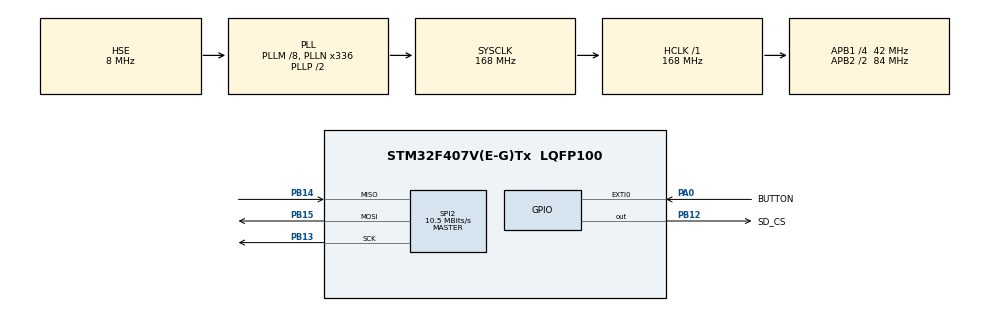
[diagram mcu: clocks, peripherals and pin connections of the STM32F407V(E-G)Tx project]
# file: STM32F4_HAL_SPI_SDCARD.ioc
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FATFS._CODE_PAGE=949
FATFS._MAX_SS=4096
FATFS._USE_LFN=1
Mcu.Family=STM32F4
Mcu.Name=STM32F407V(E-G)Tx
Mcu.Package=LQFP100
NVIC.PriorityGroup=NVIC_PRIORITYGROUP_0
PA0-WKUP.GPIO_Label=BUTTON
PA0-WKUP.Signal=GPXTI0
PB12.GPIO_Label=SD_CS
PB12.Signal=GPIO_Output
PB13.Mode=Full_Duplex_Master
PB13.Signal=SPI2_SCK
PB14.Mode=Full_Duplex_Master
PB14.Signal=SPI2_MISO
PB15.Mode=Full_Duplex_Master
PB15.Signal=SPI2_MOSI
PH0-OSC_IN.Mode=HSE-External-Oscillator
PH0-OSC_IN.Signal=RCC_OSC_IN
PH1-OSC_OUT.Mode=HSE-External-Oscillator
PH1-OSC_OUT.Signal=RCC_OSC_OUT
ProjectManager.HeapSize=0x200
ProjectManager.StackSize=0x400
ProjectManager.TargetToolchain=TrueSTUDIO
RCC.48MHZClocksFreq_Value=48000000
RCC.AHBFreq_Value=168000000
RCC.APB1CLKDivider=RCC_HCLK_DIV4
RCC.APB1Freq_Value=42000000
RCC.APB1TimFreq_Value=84000000
RCC.APB2CLKDivider=RCC_HCLK_DIV2
RCC.APB2Freq_Value=84000000
RCC.APB2TimFreq_Value=168000000
RCC.CortexFreq_Value=168000000
RCC.HCLKFreq_Value=168000000
RCC.HSE_VALUE=8000000
RCC.HSI_VALUE=16000000
RCC.LSE_VALUE=32768
RCC.PLLM=8
RCC.PLLN=336
RCC.PLLQ=7
RCC.PLLSourceVirtual=RCC_PLLSOURCE_HSE
RCC.SYSCLKFreq_VALUE=168000000
RCC.SYSCLKSource=RCC_SYSCLKSOURCE_PLLCLK
RCC.VCOOutputFreq_Value=336000000
SPI2.BaudRatePrescaler=SPI_BAUDRATEPRESCALER_4
SPI2.CalculateBaudRate=10.5 MBits/s
SPI2.Direction=SPI_DIRECTION_2LINES
SPI2.Mode=SPI_MODE_MASTER
SPI2.VirtualType=VM_MASTER
VP_FATFS_VS_Generic.Mode=User_defined
board=STM32F4DISCOVERY

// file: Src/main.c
/**
 ******************************************************************************
 * @file           : main.c
 * @brief          : Main program body
 ******************************************************************************
 * This notice applies to any and all portions of this file
 * that are not between comment pairs USER CODE BEGIN and
 * USER CODE END. Other portions of this file, whether
 * inserted by the user or by software development tools
 * are owned by their respective copyright owners.
 *
 * Copyright (c) 2019 STMicroelectronics International N.V.
 * All rights reserved.
 *
 * Redistribution and use in source and binary forms, with or without
 * modification, are permitted, provided that the following conditions are met:
 *
 * 1. Redistribution of source code must retain the above copyright notice,
 *    this list of conditions and the following disclaimer.
 * 2. Redistributions in binary form must reproduce the above copyright notice,
 *    this list of conditions and the following disclaimer in the documentation
 *    and/or other materials provided with the distribution.
 * 3. Neither the name of STMicroelectronics nor the names of other
 *    contributors to this software may be used to endorse or promote products
 *    derived from this software without specific written permission.
 * 4. This software, including modifications and/or derivative works of this
 *    software, must execute solely and exclusively on microcontroller or
 *    microprocessor devices manufactured by or for STMicroelectronics.
 * 5. Redistribution and use of this software other than as permitted under
 *    this license is void and will automatically terminate your rights under
 *    this license.
 *
 * THIS SOFTWARE IS PROVIDED BY STMICROELECTRONICS AND CONTRIBUTORS "AS IS"
 * AND ANY EXPRESS, IMPLIED OR STATUTORY WARRANTIES, INCLUDING, BUT NOT
 * LIMITED TO, THE IMPLIED WARRANTIES OF MERCHANTABILITY, FITNESS FOR A
 * PARTICULAR PURPOSE AND NON-INFRINGEMENT OF THIRD PARTY INTELLECTUAL PROPERTY
 * RIGHTS ARE DISCLAIMED TO THE FULLEST EXTENT PERMITTED BY LAW. IN NO EVENT
 * SHALL STMICROELECTRONICS OR CONTRIBUTORS BE LIABLE FOR ANY DIRECT, INDIRECT,
 * INCIDENTAL, SPECIAL, EXEMPLARY, OR CONSEQUENTIAL DAMAGES (INCLUDING, BUT NOT
 * LIMITED TO, PROCUREMENT OF SUBSTITUTE GOODS OR SERVICES; LOSS OF USE, DATA,
 * OR PROFITS; OR BUSINESS INTERRUPTION) HOWEVER CAUSED AND ON ANY THEORY OF
 * LIABILITY, WHETHER IN CONTRACT, STRICT LIABILITY, OR TORT (INCLUDING
 * NEGLIGENCE OR OTHERWISE) ARISING IN ANY WAY OUT OF THE USE OF THIS SOFTWARE,
 * EVEN IF ADVISED OF THE POSSIBILITY OF SUCH DAMAGE.
 *
 ******************************************************************************
 */
#include "main.h"
#include "stm32f4xx_hal.h"
#include "fatfs.h"

SPI_HandleTypeDef hspi2;

/* USER CODE BEGIN PV */
/* Private variables ---------------------------------------------------------*/
/* Private variables ---------------------------------------------------------*/
FATFS fs;
FATFS *pfs;
FIL fil;
FRESULT fres;
DWORD fre_clust;
uint32_t totalSpace, freeSpace;
char buffer[100];
/* USER CODE END PV */

void SystemClock_Config(void);
static void MX_GPIO_Init(void);
static void MX_SPI2_Init(void);

/* USER CODE BEGIN PFP */
/* Private function prototypes -----------------------------------------------*/

/* USER CODE END PFP */

int main(void)
{

	/* MCU Configuration----------------------------------------------------------*/

	/* Reset of all peripherals, Initializes the Flash interface and the Systick. */
	HAL_Init();

	/* Configure the system clock */
	SystemClock_Config();

	/* Initialize all configured peripherals */
	MX_GPIO_Init();
	MX_SPI2_Init();
	MX_FATFS_Init();
	/* USER CODE BEGIN 2 */

	/* Wait for SD module reset */
	HAL_Delay(500);

	/* Mount SD Card */
	if(f_mount(&fs, "", 0) != FR_OK)
		_Error_Handler(__FILE__, __LINE__);

	/* Open file to write */
	if(f_open(&fil, "first.txt", FA_OPEN_ALWAYS | FA_READ | FA_WRITE) != FR_OK)
		_Error_Handler(__FILE__, __LINE__);

	/* Check freeSpace space */
	if(f_getfree("", &fre_clust, &pfs) != FR_OK)
		_Error_Handler(__FILE__, __LINE__);

	totalSpace = (uint32_t)((pfs->n_fatent - 2) * pfs->csize * 0.5);
	freeSpace = (uint32_t)(fre_clust * pfs->csize * 0.5);

	/* free space is less than 1kb */
	if(freeSpace < 1)
		_Error_Handler(__FILE__, __LINE__);

	/* Writing text */
	f_puts("STM32 SD Card I/O Example via SPI\n", &fil);
	f_puts("Save the world!!!", &fil);

	/* Close file */
	if(f_close(&fil) != FR_OK)
		_Error_Handler(__FILE__, __LINE__);

	/* Open file to read */
	if(f_open(&fil, "first.txt", FA_READ) != FR_OK)
		_Error_Handler(__FILE__, __LINE__);

	while(f_gets(buffer, sizeof(buffer), &fil))
	{
		/* SWV output */
		printf("%s", buffer);
		fflush(stdout);
	}

	/* Close file */
	if(f_close(&fil) != FR_OK)
		_Error_Handler(__FILE__, __LINE__);

	/* Unmount SDCARD */
	if(f_mount(NULL, "", 1) != FR_OK)
		_Error_Handler(__FILE__, __LINE__);

	/* USER CODE END 2 */

	/* Infinite loop */
	while (1)
	{

	}

}

void SystemClock_Config(void)
{

	RCC_OscInitTypeDef RCC_OscInitStruct;
	RCC_ClkInitTypeDef RCC_ClkInitStruct;

	/**Configure the main internal regulator output voltage
	 */
	__HAL_RCC_PWR_CLK_ENABLE();

	__HAL_PWR_VOLTAGESCALING_CONFIG(PWR_REGULATOR_VOLTAGE_SCALE1);

	/**Initializes the CPU, AHB and APB busses clocks
	 */
	RCC_OscInitStruct.OscillatorType = RCC_OSCILLATORTYPE_HSE;
	RCC_OscInitStruct.HSEState = RCC_HSE_ON;
	RCC_OscInitStruct.PLL.PLLState = RCC_PLL_ON;
	RCC_OscInitStruct.PLL.PLLSource = RCC_PLLSOURCE_HSE;
	RCC_OscInitStruct.PLL.PLLM = 8;
	RCC_OscInitStruct.PLL.PLLN = 336;
	RCC_OscInitStruct.PLL.PLLP = RCC_PLLP_DIV2;
	RCC_OscInitStruct.PLL.PLLQ = 7;
	if (HAL_RCC_OscConfig(&RCC_OscInitStruct) != HAL_OK)
	{
		_Error_Handler(__FILE__, __LINE__);
	}

	/**Initializes the CPU, AHB and APB busses clocks
	 */
	RCC_ClkInitStruct.ClockType = RCC_CLOCKTYPE_HCLK|RCC_CLOCKTYPE_SYSCLK
			|RCC_CLOCKTYPE_PCLK1|RCC_CLOCKTYPE_PCLK2;
	RCC_ClkInitStruct.SYSCLKSource = RCC_SYSCLKSOURCE_PLLCLK;
	RCC_ClkInitStruct.AHBCLKDivider = RCC_SYSCLK_DIV1;
	RCC_ClkInitStruct.APB1CLKDivider = RCC_HCLK_DIV4;
	RCC_ClkInitStruct.APB2CLKDivider = RCC_HCLK_DIV2;

	if (HAL_RCC_ClockConfig(&RCC_ClkInitStruct, FLASH_LATENCY_5) != HAL_OK)
	{
		_Error_Handler(__FILE__, __LINE__);
	}

	/**Configure the Systick interrupt time
	 */
	HAL_SYSTICK_Config(HAL_RCC_GetHCLKFreq()/1000);

	/**Configure the Systick
	 */
	HAL_SYSTICK_CLKSourceConfig(SYSTICK_CLKSOURCE_HCLK);

	/* SysTick_IRQn interrupt configuration */
	HAL_NVIC_SetPriority(SysTick_IRQn, 0, 0);
}

/* SPI2 init function */
static void MX_SPI2_Init(void)
{

	/* SPI2 parameter configuration*/
	hspi2.Instance = SPI2;
	hspi2.Init.Mode = SPI_MODE_MASTER;
	hspi2.Init.Direction = SPI_DIRECTION_2LINES;
	hspi2.Init.DataSize = SPI_DATASIZE_8BIT;
	hspi2.Init.CLKPolarity = SPI_POLARITY_LOW;
	hspi2.Init.CLKPhase = SPI_PHASE_1EDGE;
	hspi2.Init.NSS = SPI_NSS_SOFT;
	hspi2.Init.BaudRatePrescaler = SPI_BAUDRATEPRESCALER_4;
	hspi2.Init.FirstBit = SPI_FIRSTBIT_MSB;
	hspi2.Init.TIMode = SPI_TIMODE_DISABLE;
	hspi2.Init.CRCCalculation = SPI_CRCCALCULATION_DISABLE;
	hspi2.Init.CRCPolynomial = 10;
	if (HAL_SPI_Init(&hspi2) != HAL_OK)
	{
		_Error_Handler(__FILE__, __LINE__);
	}

}

/** Configure pins as
 * Analog
 * Input
 * Output
 * EVENT_OUT
 * EXTI
 */
static void MX_GPIO_Init(void)
{

	GPIO_InitTypeDef GPIO_InitStruct;

	/* GPIO Ports Clock Enable */
	__HAL_RCC_GPIOH_CLK_ENABLE();
	__HAL_RCC_GPIOA_CLK_ENABLE();
	__HAL_RCC_GPIOB_CLK_ENABLE();

	/*Configure GPIO pin Output Level */
	HAL_GPIO_WritePin(SD_CS_GPIO_Port, SD_CS_Pin, GPIO_PIN_RESET);

	/*Configure GPIO pin : BUTTON_Pin */
	GPIO_InitStruct.Pin = BUTTON_Pin;
	GPIO_InitStruct.Mode = GPIO_MODE_IT_RISING;
	GPIO_InitStruct.Pull = GPIO_NOPULL;
	HAL_GPIO_Init(BUTTON_GPIO_Port, &GPIO_InitStruct);

	/*Configure GPIO pin : SD_CS_Pin */
	GPIO_InitStruct.Pin = SD_CS_Pin;
	GPIO_InitStruct.Mode = GPIO_MODE_OUTPUT_PP;
	GPIO_InitStruct.Pull = GPIO_NOPULL;
	GPIO_InitStruct.Speed = GPIO_SPEED_FREQ_LOW;
	HAL_GPIO_Init(SD_CS_GPIO_Port, &GPIO_InitStruct);

}

void _Error_Handler(char *file, int line)
{
	while(1)
	{
	}
}

/************************ (C) COPYRIGHT STMicroelectronics *****END OF FILE****/
